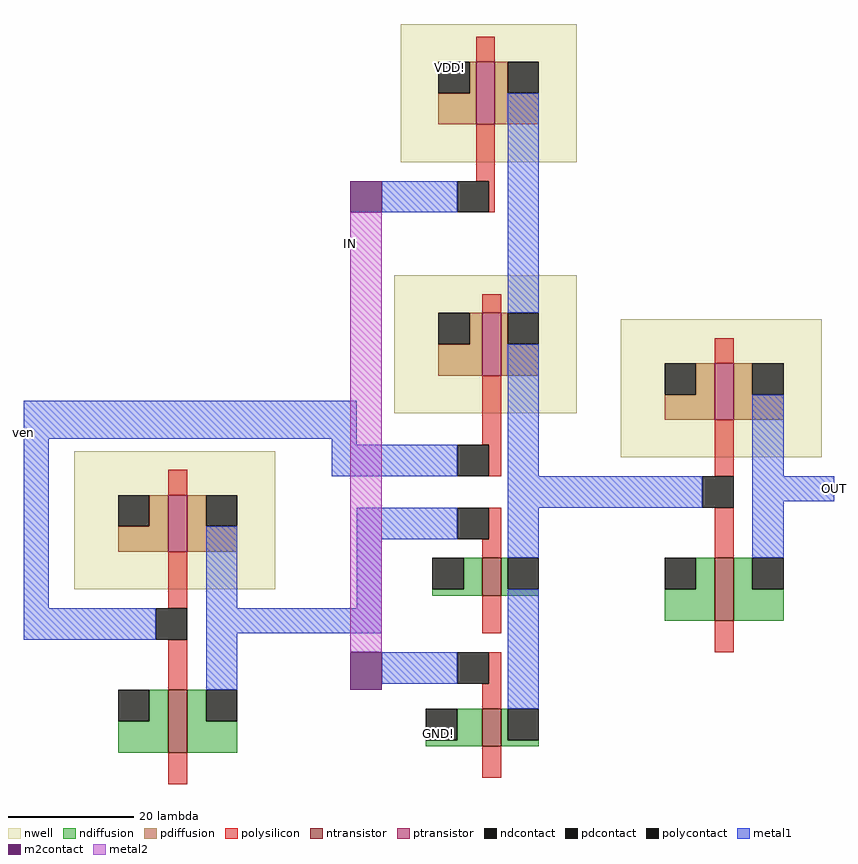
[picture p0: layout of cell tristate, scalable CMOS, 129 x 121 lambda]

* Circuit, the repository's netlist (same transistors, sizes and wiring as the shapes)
* SPICE3 file created from tristate.ext - technology: scmos

.option scale=0.1u

M1000 OUT cmos_0/vin VDD cmos_0/w_n17_0# pfet w=9 l=3
+  ad=72 pd=34 as=204 ps=100
M1001 OUT cmos_0/vin GND w_n1073741817_n1073741817# nfet w=10 l=3
+  ad=80 pd=36 as=214 ps=102
M1002 cmos_1/vout ven VDD cmos_1/w_n17_0# pfet w=9 l=3
+  ad=72 pd=34 as=0 ps=0
M1003 cmos_1/vout ven GND w_n1073741817_n1073741817# nfet w=10 l=3
+  ad=80 pd=36 as=0 ps=0
M1004 cmos_0/vin IN VDD w_n27_10# pfet w=10 l=3
+  ad=130 pd=66 as=0 ps=0
M1005 cmos_0/vin IN GND w_n1073741817_n1073741817# nfet w=6 l=3
+  ad=72 pd=48 as=0 ps=0
M1006 cmos_0/vin cmos_1/vout a_n22_n59# w_n1073741817_n1073741817# nfet w=6 l=3
+  ad=0 pd=0 as=48 ps=28
M1007 cmos_0/vin ven a_n21_n24# w_n28_n30# pfet w=10 l=3
+  ad=0 pd=0 as=70 ps=34


.model nfet NMOS (LEVEL=8 VERSION=3.2 TNOM=27 TOX=4.1E-9 XJ=1E-7 NCH=2.3549E17 VTH0=0.3823463 K1=0.5810697 
+            K2=4.774618E-3 K3=0.0431669 K3B=1.1498346 W0=1E-7 NLX=1.910552E-7 DVT0W=0 DVT1W=0 DVT2W=0 
+            DVT0=1.2894824 DVT1=0.3622063 DVT2=0.0713729 U0=280.633249 UA=-1.208537E-9 UB=2.158625E-18
+            UC=5.342807E-11 VSAT=9.366802E4 A0=1.7593146 AGS=0.3939741 B0=-6.413949E-9 B1=-1E-7 KETA=-5.180424E-4
+            A1=0 A2=1 RDSW=105.5517558 PRWG=0.5 PRWB=-0.1998871 WR=1 WINT=7.904732E-10 LINT=1.571424E-8 XL=0
+            XW=-1E-8 DWG=1.297221E-9 DWB=1.479041E-9 VOFF=-0.0955434 NFACTOR=2.4358891 CIT=0 CDSC=2.4E-4 CDSCD=0
+            CDSCB=0 ETA0=3.104851E-3 ETAB=-2.512384E-5 DSUB=0.0167075 PCLM=0.8073191 PDIBLC1=0.1666161 PDIBLC2=3.112892E-3    
+            PDIBLCB=-0.1 DROUT=0.7875618 PSCBE1=8E10 PSCBE2=9.213635E-10 PVAG=3.85243E-3 DELTA=0.01 RSH=6.7 MOBMOD=1
+            PRT=0 UTE=-1.5 KT1=-0.11 KT1L=0 KT2=0.022 UA1=4.31E-9 UB1=-7.61E-18 UC1=-5.6E-11 AT=3.3E4 WL=0 WLN=1
+            WW=0 WWN=1 WWL=0 LL=0 LLN=1 LW=0 LWN=1 LWL=0 CAPMOD=2 XPART=0.5 CGDO=7.08E-10 CGSO=7.08E-10 CGBO=1E-12
+            CJ=9.68858E-4 PB=0.8 MJ=0.3864502 CJSW=2.512138E-10 PBSW=0.809286 MJSW=0.1060414 CJSWG=3.3E-10 PBSWG=0.809286 
+            MJSWG=0.1060414 CF=0 PVTH0=-1.192722E-3 PRDSW=-5 PK2=6.450505E-5 WKETA=-4.27294E-4 LKETA=-0.0104078 
+            PU0=6.3268729 PUA=2.226552E-11 PUB=0 PVSAT=969.1480157 PETA0=1E-4 PKETA=-1.049509E-3)

.model pfet PMOS (LEVEL=8 VERSION=3.2 TNOM=27 TOX=4.1E-9 XJ=1E-7 NCH=4.1589E17 VTH0=-0.3938813 K1=0.5479015
+            K2=0.0360586 K3=0.0993095 K3B=5.7086622 W0=1E-6 NLX=1.313191E-7 DVT0W=0 DVT1W=0 DVT2W=0 DVT0=0.4911363
+            DVT1=0.2227356 DVT2=0.1 U0=115.6852975 UA=1.505832E-9 UB=1E-21 UC=-1E-10 VSAT=1.329694E5 A0=1.7590478
+            AGS=0.3641621 B0=3.427126E-7 B1=1.062928E-6 KETA=0.0134667 A1=0.6859506 A2=0.3506788 RDSW=168.5705677
+            PRWG=0.5 PRWB=-0.4987371 WR=1 WINT=0 LINT=3.028832E-8 XL=0 XW=-1E-8 DWG=-2.349633E-8 DWB=-7.152486E-9 
+            VOFF=-0.0994037 NFACTOR=1.9424315 CIT=0 CDSC=2.4E-4 CDSCD=0 CDSCB=0 ETA0=0.0608072 ETAB=-0.0426148
+            DSUB=0.7343015 PCLM=3.2579974 PDIBLC1=7.229527E-6 PDIBLC2=0.025389 PDIBLCB=-1E-3 DROUT=0 PSCBE1=1.454878E10
+            PSCBE2=4.202027E-9 PVAG=15 DELTA=0.01 RSH=7.8 MOBMOD=1 PRT=0 UTE=-1.5 KT1=-0.11 KT1L=0 KT2=0.022 UA1=4.31E-9
+            UB1=-7.61E-18 UC1=-5.6E-11 AT=3.3E4 WL=0 WLN=1 WW=0 WWN=1 WWL=0 LL=0 LLN=1 LW=0 LWN=1 LWL=0 CAPMOD=2 XPART=0.5
+            CGDO=6.32E-10 CGSO=6.32E-10 CGBO=1E-12 CJ=1.172138E-3 PB=0.8421173 MJ=0.4109788 CJSW=2.242609E-10 PBSW=0.8            
+            MJSW=0.3752089 CJSWG=4.22E-10 PBSWG=0.8 MJSWG=0.3752089 CF=0 PVTH0=1.888482E-3 PRDSW=11.5315407 PK2=1.559399E-3    
+            WKETA=0.0319301 LKETA=2.955547E-3 PU0=-1.1105313 PUA=-4.62102E-11 PUB=1E-21 PVSAT=50 PETA0=1E-4 PKETA=-4.346368E-3)


v1 VDD GND DC 1.8
v2 IN GND pwl(0n 0 0.999n 0 1n 1.8 1.999n 1.8 2n 1.8 2.999n 1.8 3n 0) r=0
v3 ven GND pwl(0n 1.8 0.999n 1.8 1n 1.8) r=0


.tran 0.01n 3n
*controlstatements*
.control
run
plot v(IN) v(ven)
plot v(OUT)
.endc
.end

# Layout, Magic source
magic
tech scmos
<< nwell >>
rect -27 10 1 32
rect -28 -30 1 -8
<< ntransistor >>
rect -14 -59 -11 -53
rect -14 -83 -11 -77
<< ptransistor >>
rect -15 16 -12 26
rect -14 -24 -11 -14
<< ndiffusion >>
rect -17 -58 -14 -53
rect -22 -59 -14 -58
rect -11 -58 -10 -53
rect -11 -59 -5 -58
rect -18 -82 -14 -77
rect -23 -83 -14 -82
rect -11 -82 -10 -77
rect -11 -83 -5 -82
<< pdiffusion >>
rect -16 21 -15 26
rect -21 16 -15 21
rect -12 21 -10 26
rect -12 16 -5 21
rect -16 -19 -14 -14
rect -21 -24 -14 -19
rect -11 -19 -10 -14
rect -11 -24 -5 -19
<< ndcontact >>
rect -22 -58 -17 -53
rect -10 -58 -5 -53
rect -23 -82 -18 -77
rect -10 -82 -5 -77
<< pdcontact >>
rect -21 21 -16 26
rect -10 21 -5 26
rect -21 -19 -16 -14
rect -10 -19 -5 -14
<< polysilicon >>
rect -15 26 -12 30
rect -15 7 -12 16
rect -13 2 -12 7
rect -14 -14 -11 -11
rect -14 -35 -11 -24
rect -13 -40 -11 -35
rect -13 -50 -11 -45
rect -14 -53 -11 -50
rect -14 -65 -11 -59
rect -13 -73 -11 -68
rect -14 -77 -11 -73
rect -14 -88 -11 -83
<< polycontact >>
rect -18 2 -13 7
rect -18 -40 -13 -35
rect -18 -50 -13 -45
rect -18 -73 -13 -68
<< metal1 >>
rect -30 2 -18 7
rect -10 -14 -5 21
rect -87 -34 -34 -28
rect -87 -61 -83 -34
rect -38 -35 -34 -34
rect -38 -40 -18 -35
rect -10 -40 -5 -19
rect -10 -45 18 -40
rect 38 -44 42 -40
rect -34 -50 -18 -45
rect -34 -61 -30 -50
rect -10 -53 -5 -45
rect -87 -66 -69 -61
rect -49 -65 -30 -61
rect -30 -73 -18 -68
rect -10 -77 -5 -58
<< m2contact >>
rect -35 2 -30 7
rect -35 -74 -30 -68
<< metal2 >>
rect -35 -68 -30 2
use cmos  cmos_1
transform 1 0 -62 0 1 -58
box -17 -31 15 22
use cmos  cmos_0
transform 1 0 25 0 1 -37
box -17 -31 15 22
<< labels >>
rlabel metal1 -87 -38 -87 -28 3 ven
rlabel pdcontact -19 25 -19 25 1 VDD!
rlabel ndcontact -21 -81 -21 -81 1 GND!
rlabel metal2 -35 -8 -35 2 1 IN
rlabel metal1 42 -44 42 -40 7 OUT
<< end >>

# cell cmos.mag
magic
tech scmos
<< nwell >>
rect -17 0 15 22
<< ntransistor >>
rect -2 -26 1 -16
<< ptransistor >>
rect -2 6 1 15
<< ndiffusion >>
rect -5 -21 -2 -16
rect -10 -26 -2 -21
rect 1 -21 4 -16
rect 1 -26 9 -21
<< pdiffusion >>
rect -5 10 -2 15
rect -10 6 -2 10
rect 1 10 4 15
rect 1 6 9 10
<< ndcontact >>
rect -10 -21 -5 -16
rect 4 -21 9 -16
<< pdcontact >>
rect -10 10 -5 15
rect 4 10 9 15
<< polysilicon >>
rect -2 15 1 19
rect -2 -3 1 6
rect -2 -16 1 -8
rect -2 -31 1 -26
<< polycontact >>
rect -4 -8 1 -3
<< metal1 >>
rect 4 -3 9 10
rect -7 -8 -4 -3
rect 4 -7 13 -3
rect 4 -16 9 -7
<< labels >>
rlabel metal1 -7 -8 -7 -3 1 vin
rlabel metal1 13 -7 13 -3 7 vout
rlabel pdcontact -9 13 -9 13 1 VDD!
rlabel ndcontact -9 -18 -9 -18 1 GND!
<< end >>
